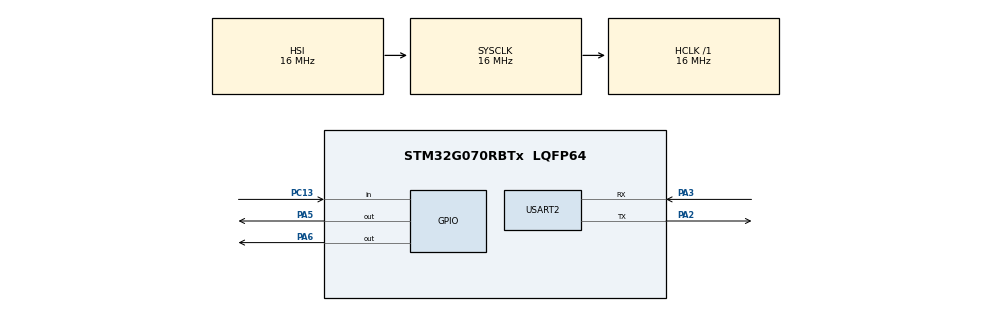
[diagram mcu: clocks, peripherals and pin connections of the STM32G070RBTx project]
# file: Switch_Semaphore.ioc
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Mcu.Family=STM32G0
Mcu.Name=STM32G070RBTx
Mcu.Package=LQFP64
NVIC.TIM3_IRQn=true\:3\:0\:false\:false\:true\:false\:true\:true
NVIC.TimeBase=TIM3_IRQn
NVIC.TimeBaseIP=TIM3
PA13.Mode=Serial_Wire
PA13.Signal=SYS_SWDIO
PA14-BOOT0.Mode=Serial_Wire
PA14-BOOT0.Signal=SYS_SWCLK
PA2.Mode=Asynchronous
PA2.Signal=USART2_TX
PA3.Mode=Asynchronous
PA3.Signal=USART2_RX
PA5.Signal=GPIO_Output
PA6.Signal=GPIO_Output
PC13.Signal=GPIO_Input
PC14-OSC32_IN\ (PC14).Mode=LSE-External-Oscillator
PC14-OSC32_IN\ (PC14).Signal=RCC_OSC32_IN
PC15-OSC32_OUT\ (PC15).Mode=LSE-External-Oscillator
PC15-OSC32_OUT\ (PC15).Signal=RCC_OSC32_OUT
PF0-OSC_IN\ (PF0).Mode=HSE-External-Clock-Source
PF0-OSC_IN\ (PF0).Signal=RCC_OSC_IN
ProjectManager.HeapSize=0x200
ProjectManager.StackSize=0x400
ProjectManager.TargetToolchain=STM32CubeIDE
RCC.AHBFreq_Value=16000000
RCC.CortexFreq_Value=16000000
RCC.EXTERNAL_CLOCK_VALUE=12288000
RCC.HCLKFreq_Value=16000000
RCC.HSE_VALUE=8000000
RCC.HSI_VALUE=16000000
RCC.SYSCLKFreq_VALUE=16000000
RCC.VCOOutputFreq_Value=128000000
USART2.VirtualMode-Asynchronous=VM_ASYNC
VP_SYS_VS_tim3.Mode=TIM3
board=NUCLEO-G070RB

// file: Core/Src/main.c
/* USER CODE BEGIN Header */
/**
  ******************************************************************************
  * @file           : main.c
  * @brief          : Main program body
  ******************************************************************************
  * @attention
  *
  * Copyright (c) 2023 STMicroelectronics.
  * All rights reserved.
  *
  * This software is licensed under terms that can be found in the LICENSE file
  * in the root directory of this software component.
  * If no LICENSE file comes with this software, it is provided AS-IS.
  *
  ******************************************************************************
  */
/* USER CODE END Header */
#include "main.h"

/* USER CODE BEGIN Includes */
#include "FreeRTOS.h"
#include "semphr.h"
#include "task.h"

/* USER CODE END Includes */

UART_HandleTypeDef huart2;

/* USER CODE BEGIN PV */
SemaphoreHandle_t BinSem;

/* USER CODE END PV */

void SystemClock_Config(void);
static void MX_GPIO_Init(void);
static void MX_USART2_UART_Init(void);
/* USER CODE BEGIN PFP */
void delay (unsigned int a);
static void ptask (void *p);
static void ctask (void *p);

/*
static void Switch_ON (void *p);
static void LED_ON (void *p);
//static void IDLE_TASK (void *p);*/

/* USER CODE END PFP */

/* USER CODE BEGIN 0 */

void delay (unsigned int a)
{
unsigned int i,j;

for (i = 0 ; i < a ; i++)
	for (j = 0 ; j<5000 ;j++);
}

void transmit1 (void)
{
uint8_t data [] = "PTASK IS RUNNING\r\n";
HAL_UART_Transmit (&huart2, data, sizeof (data), 1000);
}

void transmit2 (void)
{
uint8_t data[] = "CTASK IS RUNNING\r\n";
HAL_UART_Transmit (&huart2, data, sizeof (data), 1000);
}

static void ptask (void *p)
{
while (1)
{
transmit1 ();

if ((HAL_GPIO_ReadPin (GPIOC, GPIO_PIN_13))==0)
{
HAL_GPIO_TogglePin (GPIOA, GPIO_PIN_5);
delay (100) ;
xSemaphoreGive (BinSem) ;
}}}

static void ctask (void *p)
{
uint8_t ret;
while (1)
{
ret = xSemaphoreTake (BinSem, 100000) ;
if (ret)
{
HAL_GPIO_TogglePin (GPIOA, GPIO_PIN_6);
delay (100);
transmit2 ();
}}}

/*
void transmit1 (void)
{
	uint8_t data[] = "Switch_On\r\n";
	HAL_UART_Transmit(&huart2, data, sizeof(data), 1000);
}

void transmit2 (void)
{
	uint8_t data[] = "Led_On\r\n";
	HAL_UART_Transmit(&huart2, data, sizeof(data), 1000);
}

void transmit3 (void)
{
	uint8_t data[] = "Idle_task\r\n";
	HAL_UART_Transmit(&huart2, data, sizeof(data), 1000);
}*/

/*

static void Switch_ON (void *p)
{
	while(1)
	{

		xSemaphoreTake(BinSem, portMAX_DELAY);

		if ((
		HAL_GPIO_ReadPin(GPIOC,GPIO_PIN_13)==0)){
			transmit1();
			HAL_GPIO_WritePin(GPIOA,GPIO_PIN_5,RESET);

			xSemaphoreGive(BinSem);
		}

		else {
			//vTaskDelay(1000);
			transmit2();
			HAL_GPIO_WritePin(GPIOA,GPIO_PIN_6,RESET);
			HAL_GPIO_WritePin(GPIOA,GPIO_PIN_5,SET);
		}
		//vTaskDelay(500);

	}
}

static void LED_ON (void *p)
{
	while(1)
	{
		xSemaphoreTake(BinSem, portMAX_DELAY);

		HAL_GPIO_WritePin(GPIOA,GPIO_PIN_6,SET);

		//xSemaphoreGive(BinSem);
		vTaskDelay(1000);
	}
}

 static void IDLE_TASK (void *p)
{
	while(1)
	{
		xSemaphoreTake(BinSem, portMAX_DELAY);
		transmit3();
		HAL_GPIO_WritePin(GPIOA,GPIO_PIN_6,SET);
		xSemaphoreGive(BinSem);
		vTaskDelay(1000);
	}
} */

/* USER CODE END 0 */

int main(void)
{
  /* USER CODE BEGIN 1 */
	//TaskHandle_t t1,t2;

  /* USER CODE END 1 */

  /* MCU Configuration--------------------------------------------------------*/

  /* Reset of all peripherals, Initializes the Flash interface and the Systick. */
  HAL_Init();

  /* Configure the system clock */
  SystemClock_Config();

  /* Initialize all configured peripherals */
  MX_GPIO_Init();
  MX_USART2_UART_Init();
  /* USER CODE BEGIN 2 */
  BinSem = xSemaphoreCreateBinary();

    xTaskCreate(ptask,"T1",500, NULL, 1, NULL);
    xTaskCreate(ctask,"T2",500, NULL, 2, NULL);
    //xTaskCreate(IDLE_TASK,"T3",200, NULL, 2, &t3);

    //xSemaphoreGive(BinSem);

    vTaskStartScheduler();

  /* USER CODE END 2 */

  /* Infinite loop */
  while (1)
  {

  }
}

void SystemClock_Config(void)
{
  RCC_OscInitTypeDef RCC_OscInitStruct = {0};
  RCC_ClkInitTypeDef RCC_ClkInitStruct = {0};

  /** Configure the main internal regulator output voltage
  */
  HAL_PWREx_ControlVoltageScaling(PWR_REGULATOR_VOLTAGE_SCALE1);

  /** Initializes the RCC Oscillators according to the specified parameters
  * in the RCC_OscInitTypeDef structure.
  */
  RCC_OscInitStruct.OscillatorType = RCC_OSCILLATORTYPE_HSI;
  RCC_OscInitStruct.HSIState = RCC_HSI_ON;
  RCC_OscInitStruct.HSIDiv = RCC_HSI_DIV1;
  RCC_OscInitStruct.HSICalibrationValue = RCC_HSICALIBRATION_DEFAULT;
  RCC_OscInitStruct.PLL.PLLState = RCC_PLL_NONE;
  if (HAL_RCC_OscConfig(&RCC_OscInitStruct) != HAL_OK)
  {
    Error_Handler();
  }

  /** Initializes the CPU, AHB and APB buses clocks
  */
  RCC_ClkInitStruct.ClockType = RCC_CLOCKTYPE_HCLK|RCC_CLOCKTYPE_SYSCLK
                              |RCC_CLOCKTYPE_PCLK1;
  RCC_ClkInitStruct.SYSCLKSource = RCC_SYSCLKSOURCE_HSI;
  RCC_ClkInitStruct.AHBCLKDivider = RCC_SYSCLK_DIV1;
  RCC_ClkInitStruct.APB1CLKDivider = RCC_HCLK_DIV1;

  if (HAL_RCC_ClockConfig(&RCC_ClkInitStruct, FLASH_LATENCY_0) != HAL_OK)
  {
    Error_Handler();
  }
}

static void MX_USART2_UART_Init(void)
{

  huart2.Instance = USART2;
  huart2.Init.BaudRate = 115200;
  huart2.Init.WordLength = UART_WORDLENGTH_8B;
  huart2.Init.StopBits = UART_STOPBITS_1;
  huart2.Init.Parity = UART_PARITY_NONE;
  huart2.Init.Mode = UART_MODE_TX_RX;
  huart2.Init.HwFlowCtl = UART_HWCONTROL_NONE;
  huart2.Init.OverSampling = UART_OVERSAMPLING_16;
  huart2.Init.OneBitSampling = UART_ONE_BIT_SAMPLE_DISABLE;
  huart2.Init.ClockPrescaler = UART_PRESCALER_DIV1;
  huart2.AdvancedInit.AdvFeatureInit = UART_ADVFEATURE_NO_INIT;
  if (HAL_UART_Init(&huart2) != HAL_OK)
  {
    Error_Handler();
  }
  if (HAL_UARTEx_SetTxFifoThreshold(&huart2, UART_TXFIFO_THRESHOLD_1_8) != HAL_OK)
  {
    Error_Handler();
  }
  if (HAL_UARTEx_SetRxFifoThreshold(&huart2, UART_RXFIFO_THRESHOLD_1_8) != HAL_OK)
  {
    Error_Handler();
  }
  if (HAL_UARTEx_DisableFifoMode(&huart2) != HAL_OK)
  {
    Error_Handler();
  }

}

static void MX_GPIO_Init(void)
{
  GPIO_InitTypeDef GPIO_InitStruct = {0};

  /* GPIO Ports Clock Enable */
  __HAL_RCC_GPIOC_CLK_ENABLE();
  __HAL_RCC_GPIOF_CLK_ENABLE();
  __HAL_RCC_GPIOA_CLK_ENABLE();

  /*Configure GPIO pin Output Level */
  HAL_GPIO_WritePin(GPIOA, GPIO_PIN_5|GPIO_PIN_6, GPIO_PIN_RESET);

  /*Configure GPIO pin : PC13 */
  GPIO_InitStruct.Pin = GPIO_PIN_13;
  GPIO_InitStruct.Mode = GPIO_MODE_INPUT;
  GPIO_InitStruct.Pull = GPIO_NOPULL;
  HAL_GPIO_Init(GPIOC, &GPIO_InitStruct);

  /*Configure GPIO pins : PA5 PA6 */
  GPIO_InitStruct.Pin = GPIO_PIN_5|GPIO_PIN_6;
  GPIO_InitStruct.Mode = GPIO_MODE_OUTPUT_PP;
  GPIO_InitStruct.Pull = GPIO_NOPULL;
  GPIO_InitStruct.Speed = GPIO_SPEED_FREQ_LOW;
  HAL_GPIO_Init(GPIOA, &GPIO_InitStruct);

}

void HAL_TIM_PeriodElapsedCallback(TIM_HandleTypeDef *htim)
{
  if (htim->Instance == TIM3) {
    HAL_IncTick();
  }
}

void Error_Handler(void)
{
  __disable_irq();
  while (1)
  {
  }
}
